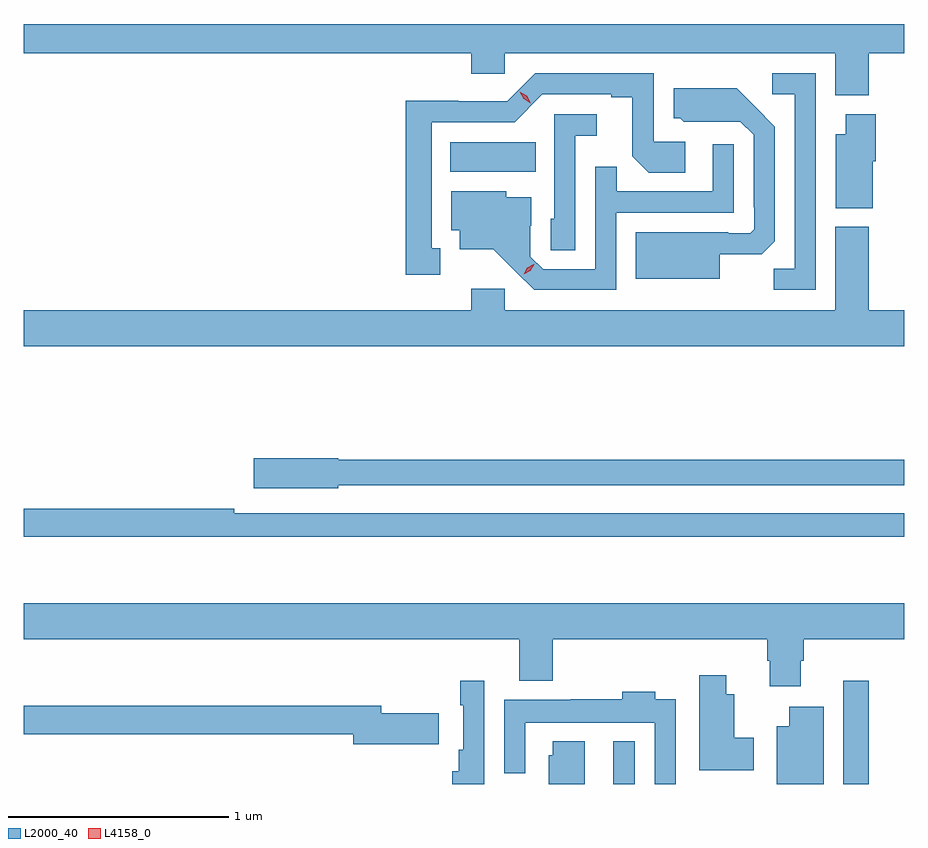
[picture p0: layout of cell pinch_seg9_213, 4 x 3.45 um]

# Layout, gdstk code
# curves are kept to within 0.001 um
import gdstk
lib = gdstk.Library(unit=1e-6, precision=1e-09)
def R(c, l, rs):  # rectangles x0, y0, x1, y1
    for r in rs: c.add(gdstk.rectangle(r[:2], r[2:], *l))
def P(c, l, *ps):  # polygons
    for p in ps: c.add(gdstk.Polygon(p, *l))
L2000_40 = (2000, 40)
L4158_0 = (4158, 0)

pinch_seg9_213 = lib.new_cell('pinch_seg9_213')
R(pinch_seg9_213, L2000_40, [(588.548,1245.047,588.645,1245.241), (589.593,1245.047,589.709,1245.517), (587.807,1247.828,588.194,1247.962)])
P(pinch_seg9_213, L2000_40, [(589.709,1248.368),(589.869,1248.368),(589.869,1248.5),(585.869,1248.5),(585.869,1248.368),(587.903,1248.368),(587.903,1248.275),(588.054,1248.275),(588.054,1248.368),(589.556,1248.368),(589.556,1248.176),(589.709,1248.176)],
  [(589.467,1248.276),(589.269,1248.276),(589.269,1248.18),(589.371,1248.18),(589.371,1247.387),(589.276,1247.387),(589.276,1247.292),(589.467,1247.292)],
  [(587.761,1247.481),(587.722,1247.481),(587.722,1248.054),(588.099,1248.054),(588.225,1248.18),(588.539,1248.18),(588.539,1248.168),(588.633,1248.168),(588.633,1247.9),(588.709,1247.824),(588.874,1247.824),(588.874,1247.964),(588.732,1247.964),(588.732,1248.276),(588.192,1248.276),(588.066,1248.15),(587.844,1248.15),(587.844,1248.152),(587.604,1248.152),(587.604,1247.361),(587.761,1247.361)],
  [(589.03,1247.453),(589.222,1247.453),(589.281,1247.512),(589.281,1248.034),(589.109,1248.208),(588.821,1248.208),(588.821,1248.072),(588.852,1248.072),(588.868,1248.056),(589.125,1248.057),(589.185,1247.997),(589.185,1247.668),(589.188,1247.668),(589.188,1247.568),(589.17,1247.55),(589.07,1247.55),(589.07,1247.554),(588.65,1247.554),(588.65,1247.342),(589.03,1247.342)],
  [(589.726,1247.877),(589.739,1247.877),(589.739,1248.091),(589.604,1248.091),(589.604,1247.998),(589.559,1247.998),(589.559,1247.663),(589.726,1247.663)],
  [(588.375,1247.993),(588.472,1247.993),(588.472,1248.09),(588.279,1248.09),(588.279,1247.616),(588.264,1247.616),(588.264,1247.473),(588.375,1247.473)],
  [(588.561,1247.643),(589.095,1247.643),(589.095,1247.953),(588.999,1247.953),(588.999,1247.739),(588.563,1247.739),(588.563,1247.852),(588.465,1247.852),(588.465,1247.385),(588.228,1247.385),(588.171,1247.442),(588.171,1247.584),(588.175,1247.584),(588.175,1247.713),(588.06,1247.713),(588.06,1247.74),(587.81,1247.74),(587.81,1247.564),(587.849,1247.564),(587.849,1247.477),(588.001,1247.477),(588.188,1247.292),(588.561,1247.292)],
  [(589.869,1247.2),(589.709,1247.2),(589.709,1247.578),(589.556,1247.578),(589.556,1247.2),(588.054,1247.2),(588.054,1247.296),(587.903,1247.296),(587.903,1247.2),(585.869,1247.2),(585.869,1247.036),(589.869,1247.036)],
  [(587.298,1246.404),(589.869,1246.404),(589.869,1246.52),(587.298,1246.52),(587.298,1246.526),(586.914,1246.526),(586.914,1246.391),(587.298,1246.391)],
  [(589.869,1246.278),(586.826,1246.278),(586.826,1246.298),(585.869,1246.298),(585.869,1246.17),(589.869,1246.17)],
  [(589.399,1245.606),(589.412,1245.606),(589.412,1245.704),(589.869,1245.704),(589.869,1245.868),(585.869,1245.868),(585.869,1245.704),(588.119,1245.704),(588.119,1245.515),(588.272,1245.515),(588.272,1245.704),(589.247,1245.704),(589.247,1245.606),(589.259,1245.606),(589.259,1245.492),(589.399,1245.492)],
  [(589.186,1245.258),(589.096,1245.258),(589.096,1245.454),(589.06,1245.454),(589.06,1245.541),(588.938,1245.541),(588.938,1245.11),(589.186,1245.11)],
  [(587.961,1245.517),(587.853,1245.517),(587.853,1245.404),(587.865,1245.404),(587.865,1245.202),(587.845,1245.202),(587.845,1245.106),(587.816,1245.106),(587.816,1245.047),(587.961,1245.047)],
  [(588.831,1245.433),(588.739,1245.433),(588.739,1245.466),(588.587,1245.466),(588.587,1245.433),(588.355,1245.433),(588.355,1245.43),(588.051,1245.43),(588.051,1245.096),(588.147,1245.096),(588.147,1245.326),(588.735,1245.326),(588.735,1245.047),(588.831,1245.047)],
  [(587.755,1245.369),(587.494,1245.369),(587.494,1245.403),(585.869,1245.403),(585.869,1245.274),(587.366,1245.274),(587.366,1245.227),(587.755,1245.227)],
  [(589.504,1245.397),(589.346,1245.397),(589.346,1245.31),(589.289,1245.31),(589.289,1245.047),(589.504,1245.047)],
  [(588.418,1245.241),(588.272,1245.241),(588.272,1245.177),(588.254,1245.177),(588.254,1245.047),(588.418,1245.047)])
P(pinch_seg9_213, L4158_0, [(588.14,1247.363),(588.14,1247.364),(588.157,1247.393),(588.187,1247.409),(588.188,1247.409),(588.188,1247.409),(588.171,1247.379),(588.14,1247.363)],
  [(588.172,1248.141),(588.14,1248.16),(588.123,1248.192),(588.123,1248.192),(588.123,1248.192),(588.155,1248.174),(588.173,1248.141),(588.173,1248.141)])

lib.write_gds('pinch_seg9_213.gds')
